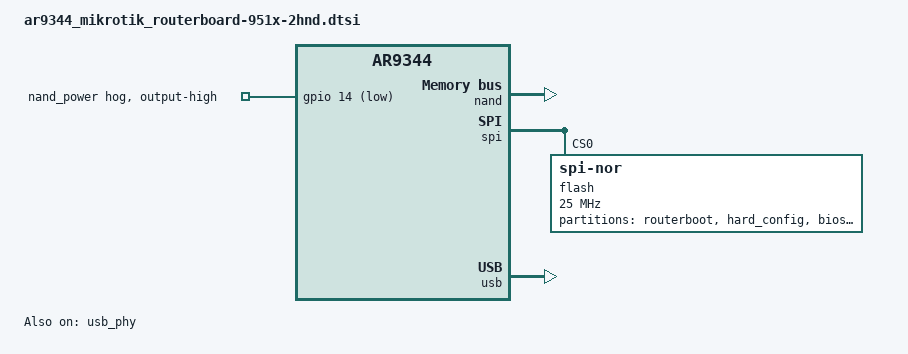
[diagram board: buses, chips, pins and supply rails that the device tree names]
// SPDX-License-Identifier: GPL-2.0-or-later OR MIT

#include "ar9344_mikrotik_routerboard.dtsi"

&gpio {
	nand_power {
		gpio-hog;
		gpios = <14 GPIO_ACTIVE_LOW>;
		output-high;
	};
};

&nand {
	status = "okay";

	nand-ecc-mode = "soft";
	qca,nand-swap-dma;

	partitions {
		compatible = "fixed-partitions";
		#address-cells = <1>;
		#size-cells = <1>;

		partition@0 {
			label = "booter";
			reg = <0x0000000 0x0040000>;
			read-only;
		};

		partition@40000 {
			label = "kernel";
			reg = <0x0040000 0x03c0000>;
		};

		partition@400000 {
			label = "ubi";
			reg = <0x0400000 0x7c00000>;
		};
	};
};

&spi {
	status = "okay";

	flash@0 {
		compatible = "jedec,spi-nor";
		reg = <0>;
		spi-max-frequency = <25000000>;

		partitions {
			compatible = "mikrotik,routerboot-partitions";
			#address-cells = <1>;
			#size-cells = <1>;

			partition@0 {
				label = "routerboot";
				reg = <0x0 0x0>;
				read-only;
			};

			hard_config: hard_config {
				read-only;
			};

			bios {
				size = <0x1000>;
				read-only;
			};

			soft_config {
			};
		};
	};
};

&usb {
	status = "okay";
};

&usb_phy {
	status = "okay";
};
